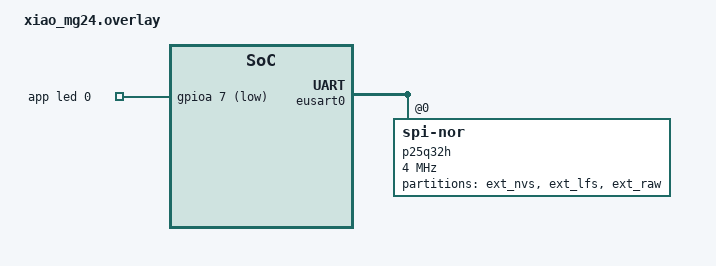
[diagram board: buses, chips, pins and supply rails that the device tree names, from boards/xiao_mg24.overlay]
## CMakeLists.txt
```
cmake_minimum_required(VERSION 3.20.0)
find_package(Zephyr REQUIRED HINTS $ENV{ZEPHYR_BASE})

project(flash_02)

target_sources(app PRIVATE src/main.c)
```

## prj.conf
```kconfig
# Console
CONFIG_PRINTK=y
CONFIG_CONSOLE=y

# SPI + external flash (JEDEC SPI NOR)
CONFIG_SPI=y
CONFIG_FLASH=y
CONFIG_SPI_NOR=y

# Flash map partition helpers (FIXED_PARTITION_ID / flash_area_*)
CONFIG_FLASH_MAP=y
CONFIG_FLASH_PAGE_LAYOUT=y

# Optional but useful for debugging
CONFIG_LOG=y
CONFIG_LOG_DEFAULT_LEVEL=3
```

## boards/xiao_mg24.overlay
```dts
/ {
    gpiocustom {
        compatible = "gpio-keys";
        appled0: appled_0 {
            gpios = <&gpioa 7 GPIO_ACTIVE_LOW>;
            label = "app led 0";
        };
    };

    aliases {
        appled0 = &appled0;
		exflash = &p25q32h;
    };

    chosen {
		zephyr,bt-hci = &bt_hci_silabs;
		zephyr,code-partition = &slot0_partition;
		zephyr,console = &usart0;
		zephyr,flash = &flash0;
		zephyr,shell-uart = &usart0;
		zephyr,sram = &sram0;
		zephyr,uart-pipe = &usart0;
	};
};

&pinctrl {
    eusart0_default: eusart0_default {
        group0 {
            /* MOSI + SCK */
            pins = <EUSART0_TX_PB0>, <EUSART0_SCLK_PA0>;
            drive-push-pull;
            output-high;
        };

        group1 {
            /* MISO */
            pins = <EUSART0_RX_PB1>;
            input-enable;
            silabs,input-filter;
        };
    };
};

&eusart0 {
    compatible = "silabs,eusart-spi";
	#address-cells = <1>;
	#size-cells = <0>;
	clock-frequency = <4000000>;
	pinctrl-0 = <&eusart0_default>;
	pinctrl-names = "default";
	status = "okay";

	cs-gpios = <&gpioa 6 GPIO_ACTIVE_LOW>;

	p25q32h: p25q32h@0 {
		compatible = "jedec,spi-nor";
		reg = <0>;
        spi-max-frequency = <4000000>;
		jedec-id = [85 60 16];
		size = <33554432>;
		has-dpd;
		t-enter-dpd = <3000>;
		t-exit-dpd = <8000>;

		partitions {
            compatible = "fixed-partitions";
            #address-cells = <1>;
            #size-cells = <1>;

            /* 0x000000 - 0x00FFFF (64 KiB) */
            ext_nvs: partition@0 {
                label = "ext_nvs";
                reg = <0x00000000 0x00010000>;
            };

            /* 0x010000 - 0x20FFFF (2 MiB) */
            ext_lfs: partition@10000 {
                label = "ext_lfs";
                reg = <0x00010000 0x00200000>;
            };

            /* 0x210000 - 0x3FFFFF (rest ~1.94 MiB) */
            ext_raw: partition@210000 {
                label = "ext_raw";
                reg = <0x00210000 0x001F0000>;
            };
        };
	};
};
```

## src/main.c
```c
#include <zephyr/kernel.h>
#include <zephyr/device.h>
#include <zephyr/drivers/flash.h>
#include <zephyr/storage/flash_map.h>
#include <zephyr/sys/printk.h>


#define DATA_OFFSET      0

struct flash_data
{
	uint8_t id;
	uint8_t val8;
	uint16_t val16;
	uint32_t val32;
	uint8_t array[4];
};

const struct flash_area *fa;
const struct device *flash_dev;
struct flash_pages_info info;

struct flash_data data;

int main(void)
{
	int ret;
	size_t erase_sz;

	k_sleep(K_MSEC(5000));
	
	printk("get flash area");
	ret = flash_area_open(FIXED_PARTITION_ID(ext_nvs), &fa);
    if (ret)
	{
        printk("flash_area_open failed: %d\n", ret);
        return 0;
    }

	printk("get flash device\n");
    flash_dev = flash_area_get_device(fa);
    if (!device_is_ready(flash_dev))
	{
        printk("Flash device not ready\n");
        flash_area_close(fa);
        return 0;
    }

    printk("Config partition: off=0x%lx size=0x%lx\n", (unsigned long)fa->fa_off, (unsigned long)fa->fa_size);

    printk("get flash area info\n");
    ret = flash_get_page_info_by_offs(flash_dev, fa->fa_off, &info);
    if (ret)
	{
        printk("flash_get_page_info_by_offs failed: %d\n", ret);
        flash_area_close(fa);
        return 0;
    }

    erase_sz = info.size;
    if (erase_sz > fa->fa_size)
	{
        printk("Erase size bigger than partition?!\n");
        flash_area_close(fa);
        return 0;
    }

	printk(":flash test:\n");
	printk("step1: read flash data and print\n");
	printk("step2: erase flash \n");
	printk("step3: increament flash data \n");
	printk("step4: write flash data\n");
	printk("step5: read flash data and print\n");

	printk("step1: read flash data\n");
	ret = flash_area_read(fa, DATA_OFFSET, &data, sizeof(data));
    if (ret)
	{
        printk("flash_area_read failed: %d\n", ret);
        flash_area_close(fa);
        return 0;
    }

	printk("flash data \n");
	printk("val8:%d\n", data.val8);
	printk("val16:%d\n", data.val16);
	printk("val32:%d\n", data.val32);
	printk("array:%d %d %d %d\n\n\n", data.array[0],data.array[1],data.array[2],data.array[3]);

	printk("step2: erase flash \n");
	ret = flash_area_erase(fa, 0, erase_sz);
    if (ret)
	{
        printk("flash_area_erase failed: %d\n", ret);
        flash_area_close(fa);
        return 0;
    }
    printk("Erased %u bytes at config+0x0\n", (unsigned)erase_sz);

	printk("step3: increament flash data \n");
	if(data.id == 0x07)
	{
		data.val8++;
		data.val16++;
		data.val32++;
		data.array[0]++;
		data.array[1]++;
		data.array[2]++;
		data.array[3]++;
	}
	else
	{
		data.id = 7;
		data.val8 = 0;
		data.val16= 0;
		data.val32= 0;
		data.array[0]= 0;
		data.array[1]= 0;
		data.array[2]= 0;
		data.array[3]= 0;
	}

	printk("step4: write flash data\n");
	ret = flash_area_write(fa, DATA_OFFSET, &data, sizeof(data));
    if (ret)
	{
        printk("flash_area_write failed: %d\n", ret);
        flash_area_close(fa);
        return 0;
    }
    printk("Wrote %u bytes at config+0x%x\n", (unsigned)sizeof(data), DATA_OFFSET);

	printk("step5: read flash data and print\n");
	ret = flash_area_read(fa, DATA_OFFSET, &data, sizeof(data));
    if (ret)
	{
        printk("flash_area_read failed: %d\n", ret);
        flash_area_close(fa);
        return 0;
    }

	printk("flash data \n");
	printk("val8:%d\n", data.val8);
	printk("val16:%d\n", data.val16);
	printk("val32:%d\n", data.val32);
	printk("array:%d %d %d %d\n\n\n", data.array[0],data.array[1],data.array[2],data.array[3]);

	flash_area_close(fa);

    return 0;
}
```
